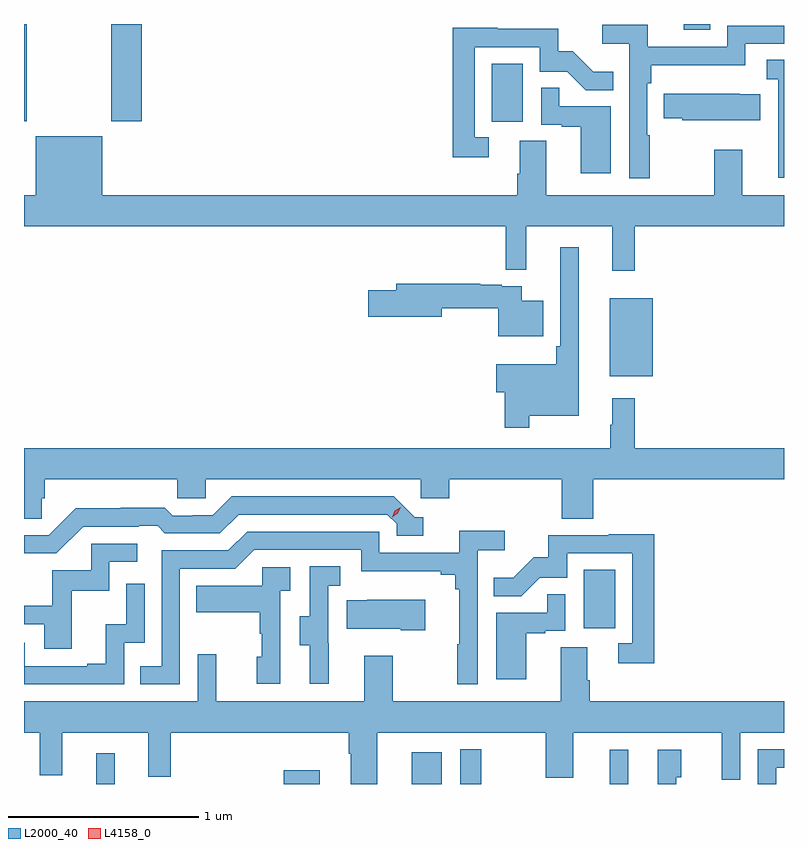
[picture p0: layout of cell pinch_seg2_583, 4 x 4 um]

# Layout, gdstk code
import gdstk
lib = gdstk.Library(unit=1e-6, precision=1e-09)
def R(c, l, rs):  # rectangles x0, y0, x1, y1
    for r in rs: c.add(gdstk.rectangle(r[:2], r[2:], *l))
def P(c, l, *ps):  # polygons
    for p in ps: c.add(gdstk.Polygon(p, *l))
L2000_40 = (2000, 40)
L4158_0 = (4158, 0)

pinch_seg2_583 = lib.new_cell('pinch_seg2_583')
R(pinch_seg2_583, L2000_40, [(1055.901,616.729,1055.998,616.891), (1056.889,616.729,1057.078,616.801), (1057.562,616.729,1057.72,616.897), (1057.818,616.729,1057.927,616.912), (1058.603,616.729,1058.701,616.909), (1058.468,617.55,1058.632,617.857), (1058.603,618.875,1058.83,619.285), (1057.982,620.214,1058.146,620.521), (1055.521,620.217,1055.535,620.729), (1055.98,620.217,1056.14,620.729), (1058.993,620.7,1059.132,620.729)])
P(pinch_seg2_583, L2000_40, [(1058.815,620.144),(1058.802,620.144),(1058.802,620.417),(1058.822,620.417),(1058.822,620.513),(1059.318,620.513),(1059.318,620.625),(1059.521,620.625),(1059.521,620.721),(1059.222,620.721),(1059.222,620.61),(1058.804,620.61),(1058.804,620.726),(1058.565,620.726),(1058.565,620.624),(1058.706,620.624),(1058.706,619.917),(1058.815,619.917)],
  [(1057.966,620.133),(1057.893,620.133),(1057.893,620.607),(1058.235,620.607),(1058.235,620.478),(1058.379,620.478),(1058.477,620.38),(1058.621,620.38),(1058.621,620.479),(1058.517,620.479),(1058.41,620.586),(1058.334,620.586),(1058.334,620.703),(1058.015,620.703),(1058.015,620.708),(1057.777,620.708),(1057.777,620.028),(1057.966,620.028)],
  [(1059.521,620.54),(1059.429,620.54),(1059.429,620.437),(1059.492,620.437),(1059.492,620.133),(1059.491,620.133),(1059.491,619.92),(1059.521,619.92)],
  [(1058.608,620.295),(1058.339,620.295),(1058.339,620.393),(1058.244,620.393),(1058.244,620.199),(1058.351,620.199),(1058.351,620.187),(1058.45,620.187),(1058.45,619.944),(1058.608,619.944)],
  [(1059.395,620.359),(1059.287,620.359),(1059.287,620.362),(1058.887,620.362),(1058.887,620.233),(1058.985,620.233),(1058.985,620.222),(1059.395,620.222)],
  [(1058.735,619.664),(1059.521,619.664),(1059.521,619.828),(1059.301,619.828),(1059.301,620.068),(1059.154,620.068),(1059.154,619.828),(1058.269,619.828),(1058.269,620.114),(1058.129,620.114),(1058.129,619.94),(1058.117,619.94),(1058.117,619.828),(1055.932,619.828),(1055.932,620.137),(1055.582,620.137),(1055.582,619.828),(1055.521,619.828),(1055.521,619.664),(1058.056,619.664),(1058.056,619.435),(1058.165,619.435),(1058.165,619.664),(1058.618,619.664),(1058.618,619.431),(1058.735,619.431)],
  [(1058.179,618.668),(1058.44,618.668),(1058.44,619.555),(1058.343,619.555),(1058.343,619.033),(1058.323,619.033),(1058.323,618.937),(1058.006,618.937),(1058.006,618.79),(1058.05,618.79),(1058.05,618.603),(1058.179,618.603)],
  [(1058.254,619.273),(1058.14,619.273),(1058.14,619.35),(1058.036,619.35),(1058.036,619.356),(1057.922,619.356),(1057.922,619.363),(1057.481,619.363),(1057.481,619.329),(1057.332,619.329),(1057.332,619.187),(1057.72,619.187),(1057.72,619.234),(1058.018,619.234),(1058.018,619.085),(1058.254,619.085)],
  [(1055.615,618.234),(1055.63,618.234),(1055.63,618.332),(1056.327,618.332),(1056.327,618.234),(1056.477,618.234),(1056.477,618.332),(1057.608,618.332),(1057.608,618.234),(1057.76,618.234),(1057.76,618.332),(1058.351,618.332),(1058.351,618.124),(1058.516,618.124),(1058.516,618.332),(1059.521,618.332),(1059.521,618.496),(1058.735,618.496),(1058.735,618.76),(1058.618,618.76),(1058.618,618.62),(1058.607,618.62),(1058.607,618.496),(1055.521,618.496),(1055.521,618.124),(1055.615,618.124)],
  [(1055.832,618.084),(1056.125,618.084),(1056.125,618.087),(1056.224,618.087),(1056.263,618.048),(1056.552,618.048),(1056.651,618.147),(1057.434,618.147),(1057.482,618.099),(1057.482,618.036),(1057.621,618.036),(1057.621,618.132),(1057.578,618.132),(1057.467,618.243),(1056.614,618.243),(1056.515,618.144),(1056.408,618.144),(1056.408,618.141),(1056.305,618.141),(1056.263,618.184),(1056.03,618.184),(1056.03,618.181),(1055.794,618.181),(1055.652,618.039),(1055.521,618.039),(1055.521,617.943),(1055.691,617.943)],
  [(1056.342,617.862),(1056.633,617.862),(1056.732,617.961),(1057.296,617.961),(1057.296,617.849),(1057.715,617.849),(1057.715,617.83),(1057.792,617.83),(1057.792,617.753),(1057.811,617.753),(1057.811,617.465),(1057.8,617.465),(1057.8,617.253),(1057.908,617.253),(1057.908,617.96),(1058.05,617.96),(1058.05,618.062),(1057.811,618.062),(1057.811,617.946),(1057.392,617.946),(1057.392,618.057),(1056.695,618.057),(1056.596,617.958),(1056.246,617.958),(1056.246,617.349),(1056.133,617.349),(1056.133,617.253),(1056.342,617.253)],
  [(1058.837,618.044),(1058.599,618.044),(1058.599,618.039),(1058.281,618.039),(1058.281,617.922),(1058.204,617.922),(1058.097,617.815),(1057.993,617.815),(1057.993,617.716),(1058.137,617.716),(1058.235,617.814),(1058.379,617.814),(1058.379,617.943),(1058.721,617.943),(1058.721,617.469),(1058.649,617.469),(1058.649,617.364),(1058.837,617.364)],
  [(1055.771,617.745),(1055.97,617.745),(1055.97,617.898),(1056.118,617.898),(1056.118,617.994),(1055.874,617.994),(1055.874,617.853),(1055.669,617.853),(1055.669,617.667),(1055.521,617.667),(1055.521,617.571),(1055.627,617.571),(1055.627,617.442),(1055.771,617.442)],
  [(1057.124,617.469),(1057.122,617.469),(1057.122,617.773),(1057.186,617.773),(1057.186,617.876),(1057.026,617.876),(1057.026,617.613),(1056.971,617.613),(1056.971,617.458),(1057.025,617.458),(1057.025,617.256),(1057.124,617.256)],
  [(1056.87,617.747),(1056.922,617.747),(1056.922,617.871),(1056.774,617.871),(1056.774,617.773),(1056.427,617.773),(1056.427,617.633),(1056.762,617.633),(1056.762,617.519),(1056.772,617.519),(1056.772,617.4),(1056.746,617.4),(1056.746,617.256),(1056.87,617.256)],
  [(1056.048,617.472),(1056.156,617.472),(1056.156,617.782),(1056.06,617.782),(1056.06,617.57),(1055.951,617.57),(1055.951,617.362),(1055.855,617.362),(1055.855,617.349),(1055.526,617.349),(1055.526,617.472),(1055.521,617.472),(1055.521,617.253),(1056.048,617.253)],
  [(1058.164,617.523),(1058.264,617.523),(1058.264,617.535),(1058.37,617.535),(1058.37,617.729),(1058.275,617.729),(1058.275,617.631),(1058.006,617.631),(1058.006,617.28),(1058.164,617.28)],
  [(1057.633,617.698),(1057.327,617.698),(1057.327,617.695),(1057.219,617.695),(1057.219,617.546),(1057.505,617.546),(1057.505,617.539),(1057.633,617.539)],
  [(1057.381,617),(1058.266,617),(1058.266,616.761),(1058.413,616.761),(1058.413,617),(1059.194,617),(1059.194,616.752),(1059.291,616.752),(1059.291,617),(1059.521,617),(1059.521,617.164),(1058.498,617.164),(1058.498,617.276),(1058.485,617.276),(1058.485,617.45),(1058.345,617.45),(1058.345,617.164),(1057.461,617.164),(1057.461,617.404),(1057.313,617.404),(1057.313,617.164),(1056.533,617.164),(1056.533,617.413),(1056.435,617.413),(1056.435,617.164),(1055.521,617.164),(1055.521,617),(1055.605,617),(1055.605,616.775),(1055.723,616.775),(1055.723,617),(1056.176,617),(1056.176,616.767),(1056.293,616.767),(1056.293,617),(1057.229,617),(1057.229,616.888),(1057.241,616.888),(1057.241,616.729),(1057.381,616.729)],
  [(1059.48,616.815),(1059.521,616.815),(1059.521,616.911),(1059.384,616.911),(1059.384,616.729),(1059.48,616.729)],
  [(1058.955,616.764),(1058.98,616.764),(1058.98,616.909),(1058.856,616.909),(1058.856,616.729),(1058.955,616.729)])
P(pinch_seg2_583, L4158_0, [(1057.458,618.133),(1057.458,618.134),(1057.473,618.166),(1057.504,618.186),(1057.504,618.186),(1057.504,618.186),(1057.488,618.153),(1057.458,618.133)])

lib.write_gds('pinch_seg2_583.gds')
